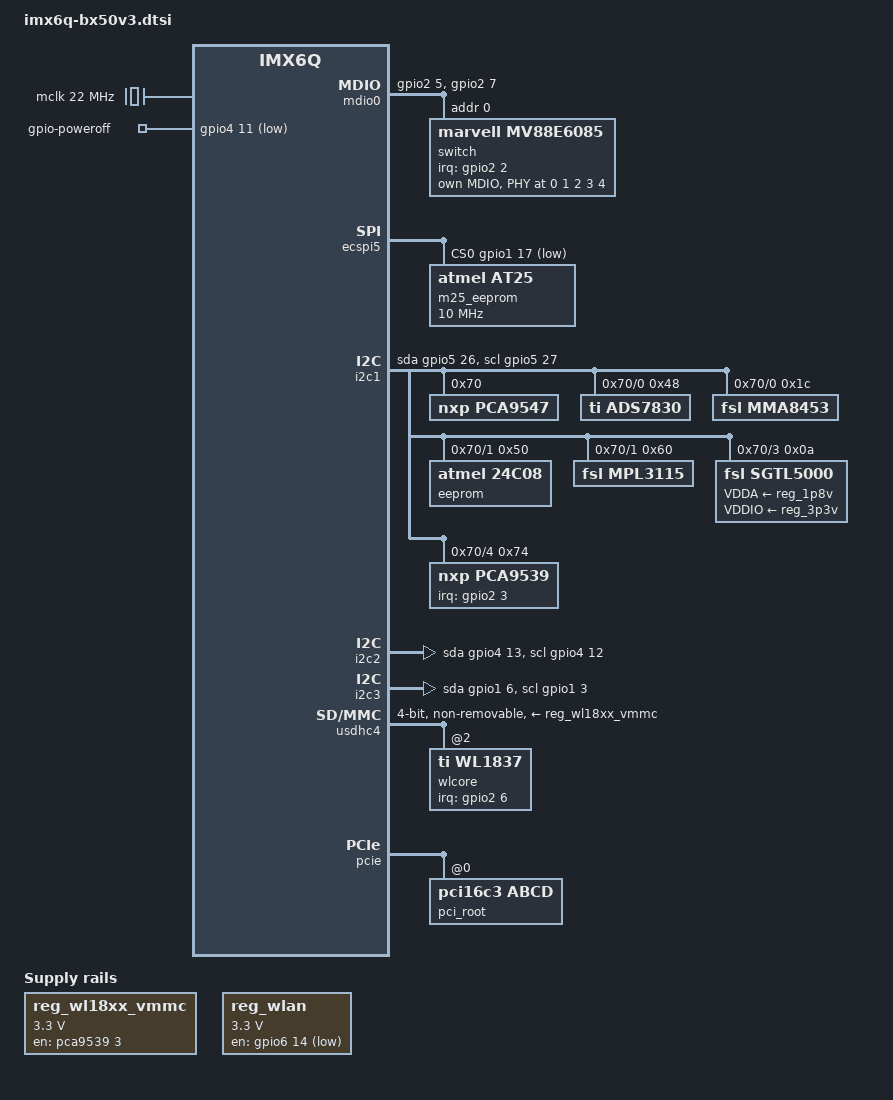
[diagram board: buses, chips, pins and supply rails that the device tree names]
/*
 * Copyright 2015 Timesys Corporation.
 * Copyright 2015 General Electric Company
 *
 * This file is dual-licensed: you can use it either under the terms
 * of the GPL or the X11 license, at your option. Note that this dual
 * licensing only applies to this file, and not this project as a
 * whole.
 *
 *  a) This file is free software; you can redistribute it and/or
 *     modify it under the terms of the GNU General Public License
 *     version 2 as published by the Free Software Foundation.
 *
 *     This file is distributed in the hope that it will be useful,
 *     but WITHOUT ANY WARRANTY; without even the implied warranty of
 *     MERCHANTABILITY or FITNESS FOR A PARTICULAR PURPOSE.  See the
 *     GNU General Public License for more details.
 *
 * Or, alternatively,
 *
 *  b) Permission is hereby granted, free of charge, to any person
 *     obtaining a copy of this software and associated documentation
 *     files (the "Software"), to deal in the Software without
 *     restriction, including without limitation the rights to use,
 *     copy, modify, merge, publish, distribute, sublicense, and/or
 *     sell copies of the Software, and to permit persons to whom the
 *     Software is furnished to do so, subject to the following
 *     conditions:
 *
 *     The above copyright notice and this permission notice shall be
 *     included in all copies or substantial portions of the Software.
 *
 *     THE SOFTWARE IS PROVIDED "AS IS", WITHOUT WARRANTY OF ANY KIND,
 *     EXPRESS OR IMPLIED, INCLUDING BUT NOT LIMITED TO THE WARRANTIES
 *     OF MERCHANTABILITY, FITNESS FOR A PARTICULAR PURPOSE AND
 *     NONINFRINGEMENT. IN NO EVENT SHALL THE AUTHORS OR COPYRIGHT
 *     HOLDERS BE LIABLE FOR ANY CLAIM, DAMAGES OR OTHER LIABILITY,
 *     WHETHER IN AN ACTION OF CONTRACT, TORT OR OTHERWISE, ARISING
 *     FROM, OUT OF OR IN CONNECTION WITH THE SOFTWARE OR THE USE OR
 *     OTHER DEALINGS IN THE SOFTWARE.
 */

#include "imx6q-ba16.dtsi"

/ {
	mclk: clock-mclk {
		compatible = "fixed-clock";
		#clock-cells = <0>;
		clock-frequency = <22000000>;
	};

	gpio-poweroff {
		compatible = "gpio-poweroff";
		gpios = <&gpio4 11 GPIO_ACTIVE_LOW>;
		status = "okay";
	};

	reg_wl18xx_vmmc: regulator-wl18xx {
		compatible = "regulator-fixed";
		regulator-name = "vwl1807";
		regulator-min-microvolt = <3300000>;
		regulator-max-microvolt = <3300000>;
		gpio = <&pca9539 3 GPIO_ACTIVE_HIGH>;
		startup-delay-us = <70000>;
		enable-active-high;
	};

	reg_wlan: regulator-wlan {
		compatible = "regulator-fixed";
		regulator-name = "3P3V_wlan";
		regulator-min-microvolt = <3300000>;
		regulator-max-microvolt = <3300000>;
		regulator-always-on;
		regulator-boot-on;
		gpio = <&gpio6 14 GPIO_ACTIVE_HIGH>;
	};

	sound {
		compatible = "fsl,imx6q-ba16-sgtl5000",
			     "fsl,imx-audio-sgtl5000";
		model = "imx6q-ba16-sgtl5000";
		ssi-controller = <&ssi1>;
		audio-codec = <&sgtl5000>;
		audio-routing =
			"MIC_IN", "Mic Jack",
			"Mic Jack", "Mic Bias",
			"LINE_IN", "Line In Jack",
			"Headphone Jack", "HP_OUT";
		mux-int-port = <1>;
		mux-ext-port = <4>;
	};

	aliases {
		mdio-gpio0 = &mdio0;
	};

	mdio0: mdio-gpio {
		compatible = "virtual,mdio-gpio";
		gpios = <&gpio2 5 GPIO_ACTIVE_HIGH>, /* mdc */
			<&gpio2 7 GPIO_ACTIVE_HIGH>; /* mdio */

		#address-cells = <1>;
		#size-cells = <0>;

		switch: switch@0 {
			compatible = "marvell,mv88e6085"; /* 88e6240*/
			reg = <0>;

			interrupt-parent = <&gpio2>;
			interrupts = <2 IRQ_TYPE_LEVEL_LOW>;
			interrupt-controller;
			#interrupt-cells = <2>;

			switch_ports: ports {
				#address-cells = <1>;
				#size-cells = <0>;
			};

			mdio {
				#address-cells = <1>;
				#size-cells = <0>;

				switchphy0: switchphy@0 {
					reg = <0>;
					interrupt-parent = <&switch>;
					interrupts = <0 IRQ_TYPE_LEVEL_HIGH>;
				};

				switchphy1: switchphy@1 {
					reg = <1>;
					interrupt-parent = <&switch>;
					interrupts = <1 IRQ_TYPE_LEVEL_HIGH>;
				};

				switchphy2: switchphy@2 {
					reg = <2>;
					interrupt-parent = <&switch>;
					interrupts = <2 IRQ_TYPE_LEVEL_HIGH>;
				};

				switchphy3: switchphy@3 {
					reg = <3>;
					interrupt-parent = <&switch>;
					interrupts = <3 IRQ_TYPE_LEVEL_HIGH>;
				};

				switchphy4: switchphy@4 {
					reg = <4>;
					interrupt-parent = <&switch>;
					interrupts = <4 IRQ_TYPE_LEVEL_HIGH>;
				};
			};
		};
	};
};

&ecspi5 {
	cs-gpios = <&gpio1 17 GPIO_ACTIVE_LOW>;
	pinctrl-names = "default";
	pinctrl-0 = <&pinctrl_ecspi5>;
	status = "okay";

	m25_eeprom: flash@0 {
		compatible = "atmel,at25";
		spi-max-frequency = <10000000>;
		size = <0x8000>;
		pagesize = <64>;
		reg = <0>;
		address-width = <16>;
	};
};

&i2c1 {
	pinctrl-names = "default", "gpio";
	pinctrl-1 = <&pinctrl_i2c1_gpio>;
	sda-gpios = <&gpio5 26 GPIO_ACTIVE_HIGH>;
	scl-gpios = <&gpio5 27 GPIO_ACTIVE_HIGH>;

	pca9547: mux@70 {
		compatible = "nxp,pca9547";
		reg = <0x70>;
		#address-cells = <1>;
		#size-cells = <0>;

		mux1_i2c1: i2c@0 {
			#address-cells = <1>;
			#size-cells = <0>;
			reg = <0x0>;

			ads7830: ads7830@48 {
				compatible = "ti,ads7830";
				reg = <0x48>;
			};

			mma8453: mma8453@1c {
				compatible = "fsl,mma8453";
				reg = <0x1c>;
			};
		};

		mux1_i2c2: i2c@1 {
			#address-cells = <1>;
			#size-cells = <0>;
			reg = <0x1>;

			eeprom: eeprom@50 {
				compatible = "atmel,24c08";
				reg = <0x50>;
			};

			mpl3115: mpl3115@60 {
				compatible = "fsl,mpl3115";
				reg = <0x60>;
			};
		};

		mux1_i2c3: i2c@2 {
			#address-cells = <1>;
			#size-cells = <0>;
			reg = <0x2>;
		};

		mux1_i2c4: i2c@3 {
			#address-cells = <1>;
			#size-cells = <0>;
			reg = <0x3>;

			sgtl5000: codec@a {
				compatible = "fsl,sgtl5000";
				reg = <0x0a>;
				clocks = <&mclk>;
				VDDA-supply = <&reg_1p8v>;
				VDDIO-supply = <&reg_3p3v>;
			};
		};

		mux1_i2c5: i2c@4 {
			#address-cells = <1>;
			#size-cells = <0>;
			reg = <0x4>;

			pca9539: pca9539@74 {
				compatible = "nxp,pca9539";
				reg = <0x74>;
				gpio-controller;
				#gpio-cells = <2>;
				interrupt-controller;
				interrupt-parent = <&gpio2>;
				interrupts = <3 IRQ_TYPE_LEVEL_LOW>;

				P12-hog {
					gpio-hog;
					gpios = <10 0>;
					output-low;
					line-name = "PCA9539-P12";
				};

				P13-hog {
					gpio-hog;
					gpios = <11 0>;
					output-low;
					line-name = "PCA9539-P13";
				};

				P14-hog {
					gpio-hog;
					gpios = <12 0>;
					output-low;
					line-name = "PCA9539-P14";
				};

				P15-hog {
					gpio-hog;
					gpios = <13 0>;
					output-low;
					line-name = "PCA9539-P15";
				};

				P16-hog {
					gpio-hog;
					gpios = <14 0>;
					output-low;
					line-name = "PCA9539-P16";
				};

				P17-hog {
					gpio-hog;
					gpios = <15 0>;
					output-low;
					line-name = "PCA9539-P17";
				};
			};
		};

		mux1_i2c6: i2c@5 {
			#address-cells = <1>;
			#size-cells = <0>;
			reg = <0x5>;
		};

		mux1_i2c7: i2c@6 {
			#address-cells = <1>;
			#size-cells = <0>;
			reg = <0x6>;
		};

		mux1_i2c8: i2c@7 {
			#address-cells = <1>;
			#size-cells = <0>;
			reg = <0x7>;
		};
	};
};

&i2c2 {
	pinctrl-names = "default", "gpio";
	pinctrl-1 = <&pinctrl_i2c2_gpio>;
	sda-gpios = <&gpio4 13 GPIO_ACTIVE_HIGH>;
	scl-gpios = <&gpio4 12 GPIO_ACTIVE_HIGH>;
};

&i2c3 {
	pinctrl-names = "default", "gpio";
	pinctrl-1 = <&pinctrl_i2c3_gpio>;
	sda-gpios = <&gpio1 6 GPIO_ACTIVE_HIGH>;
	scl-gpios = <&gpio1 3 GPIO_ACTIVE_HIGH>;
};

&iomuxc {
	pinctrl_i2c1_gpio: i2c1gpiogrp {
		fsl,pins = <
			MX6QDL_PAD_CSI0_DAT8__GPIO5_IO26	0x1b0b0
			MX6QDL_PAD_CSI0_DAT9__GPIO5_IO27	0x1b0b0
		>;
	};

	pinctrl_i2c2_gpio: i2c2gpiogrp {
		fsl,pins = <
			MX6QDL_PAD_KEY_COL3__GPIO4_IO12	0x1b0b0
			MX6QDL_PAD_KEY_ROW3__GPIO4_IO13	0x1b0b0
		>;
	};

	pinctrl_i2c3_gpio: i2c3gpiogrp {
		fsl,pins = <
			MX6QDL_PAD_GPIO_3__GPIO1_IO03	0x1b0b0
			MX6QDL_PAD_GPIO_6__GPIO1_IO06	0x1b0b0
		>;
	};
};

&pmu {
	secure-reg-access;
};

&usdhc2 {
	status = "disabled";
};

&usdhc4 {
	pinctrl-names = "default";
	pinctrl-0 = <&pinctrl_usdhc4>;
	bus-width = <4>;
	vmmc-supply = <&reg_wl18xx_vmmc>;
	no-1-8-v;
	non-removable;
	wakeup-source;
	keep-power-in-suspend;
	cap-power-off-card;
	max-frequency = <25000000>;
	#address-cells = <1>;
	#size-cells = <0>;
	status = "okay";

	wlcore: wlcore@2 {
		compatible = "ti,wl1837";
		reg = <2>;
		interrupt-parent = <&gpio2>;
		interrupts = <6 IRQ_TYPE_LEVEL_HIGH>;
		tcxo-clock-frequency = <26000000>;
	};
};

&pcie {
	/* Synopsys, Inc. Device */
	pci_root: root@0,0 {
		compatible = "pci16c3,abcd";
		reg = <0x00000000 0 0 0 0>;

		#address-cells = <3>;
		#size-cells = <2>;
		#interrupt-cells = <1>;
	};
};

&clks {
	assigned-clocks = <&clks IMX6QDL_CLK_LDB_DI0_SEL>,
			  <&clks IMX6QDL_CLK_LDB_DI1_SEL>,
			  <&clks IMX6QDL_CLK_IPU1_DI0_PRE_SEL>,
			  <&clks IMX6QDL_CLK_IPU1_DI1_PRE_SEL>,
			  <&clks IMX6QDL_CLK_IPU2_DI0_PRE_SEL>,
			  <&clks IMX6QDL_CLK_IPU2_DI1_PRE_SEL>;
	assigned-clock-parents = <&clks IMX6QDL_CLK_PLL5_VIDEO_DIV>,
				 <&clks IMX6QDL_CLK_PLL5_VIDEO_DIV>,
				 <&clks IMX6QDL_CLK_PLL2_PFD0_352M>,
				 <&clks IMX6QDL_CLK_PLL2_PFD0_352M>,
				 <&clks IMX6QDL_CLK_PLL2_PFD0_352M>,
				 <&clks IMX6QDL_CLK_PLL2_PFD0_352M>;
};
